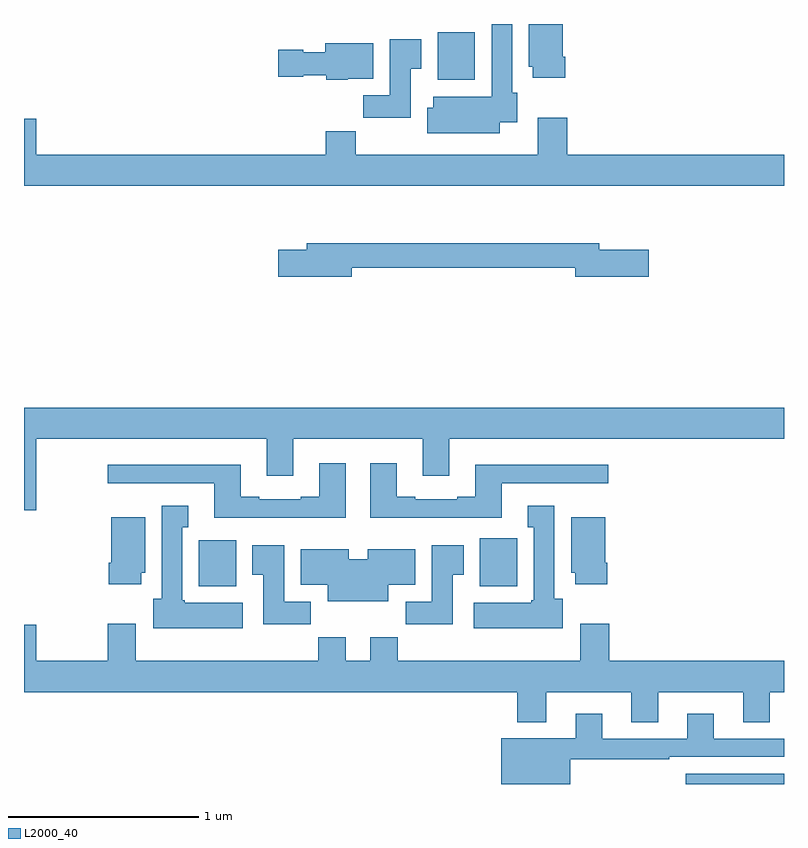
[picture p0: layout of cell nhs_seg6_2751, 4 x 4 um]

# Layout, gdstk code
import gdstk
lib = gdstk.Library(unit=1e-6, precision=1e-09)
def R(c, l, rs):  # rectangles x0, y0, x1, y1
    for r in rs: c.add(gdstk.rectangle(r[:2], r[2:], *l))
def P(c, l, *ps):  # polygons
    for p in ps: c.add(gdstk.Polygon(p, *l))
L2000_40 = (2000, 40)

nhs_seg6_2751 = lib.new_cell('nhs_seg6_2751')
R(nhs_seg6_2751, L2000_40, [(276.483,965.5,277,965.554), (273.92,966.542,274.117,966.784), (275.399,966.542,275.595,966.793), (275.177,969.206,275.373,969.457)])
P(nhs_seg6_2751, L2000_40, [(275.849,969.328),(275.836,969.328),(275.836,969.5),(275.657,969.5),(275.657,969.276),(275.678,969.276),(275.678,969.216),(275.849,969.216)],
  [(275.503,968.984),(275.596,968.984),(275.596,969.138),(275.569,969.138),(275.569,969.5),(275.462,969.5),(275.462,969.118),(275.153,969.118),(275.153,969.059),(275.123,969.059),(275.123,968.924),(275.503,968.924)],
  [(275.035,969.265),(275.092,969.265),(275.092,969.421),(274.925,969.421),(274.925,969.124),(274.786,969.124),(274.786,969.006),(275.035,969.006)],
  [(274.704,969.212),(274.837,969.212),(274.837,969.4),(274.586,969.4),(274.586,969.352),(274.47,969.352),(274.47,969.365),(274.338,969.365),(274.338,969.223),(274.47,969.223),(274.47,969.23),(274.59,969.23),(274.59,969.206),(274.704,969.206)],
  [(277,968.812),(275.858,968.812),(275.858,969.007),(275.705,969.007),(275.705,968.812),(274.745,968.812),(274.745,968.936),(274.589,968.936),(274.589,968.812),(273.064,968.812),(273.064,969.001),(273,969.001),(273,968.648),(277,968.648)],
  [(274.726,968.218),(275.9,968.218),(275.9,968.171),(276.289,968.171),(276.289,968.313),(276.028,968.313),(276.028,968.347),(274.487,968.347),(274.487,968.313),(274.338,968.313),(274.338,968.171),(274.726,968.171)],
  [(273.064,967.316),(274.277,967.316),(274.277,967.122),(274.417,967.122),(274.417,967.316),(275.099,967.316),(275.099,967.122),(275.239,967.122),(275.239,967.316),(277,967.316),(277,967.48),(273,967.48),(273,966.942),(273.064,966.942)],
  [(275.515,967.083),(276.076,967.083),(276.076,967.18),(275.375,967.18),(275.375,967.012),(275.279,967.012),(275.279,966.999),(275.059,966.999),(275.059,967.012),(274.963,967.012),(274.963,967.189),(274.823,967.189),(274.823,966.902),(275.515,966.902)],
  [(274.693,967.189),(274.553,967.189),(274.553,967.012),(274.457,967.012),(274.457,966.999),(274.237,966.999),(274.237,967.012),(274.141,967.012),(274.141,967.18),(273.441,967.18),(273.441,967.083),(274.001,967.083),(274.001,966.902),(274.693,966.902)],
  [(275.836,966.474),(275.791,966.474),(275.791,966.964),(275.651,966.964),(275.651,966.851),(275.684,966.851),(275.684,966.468),(275.671,966.468),(275.671,966.454),(275.367,966.454),(275.367,966.32),(275.836,966.32)],
  [(274.15,966.454),(273.846,966.454),(273.846,966.468),(273.832,966.468),(273.832,966.851),(273.865,966.851),(273.865,966.964),(273.725,966.964),(273.725,966.474),(273.68,966.474),(273.68,966.32),(274.15,966.32)],
  [(276.071,966.664),(276.058,966.664),(276.058,966.904),(275.879,966.904),(275.879,966.612),(275.9,966.612),(275.9,966.552),(276.071,966.552)],
  [(273.616,966.612),(273.637,966.612),(273.637,966.904),(273.458,966.904),(273.458,966.664),(273.446,966.664),(273.446,966.552),(273.616,966.552)],
  [(275.257,966.601),(275.314,966.601),(275.314,966.757),(275.147,966.757),(275.147,966.46),(275.008,966.46),(275.008,966.342),(275.257,966.342)],
  [(274.508,966.46),(274.369,966.46),(274.369,966.757),(274.202,966.757),(274.202,966.601),(274.259,966.601),(274.259,966.342),(274.508,966.342)],
  [(274.918,966.548),(275.059,966.548),(275.059,966.736),(274.808,966.736),(274.808,966.682),(274.708,966.682),(274.708,966.736),(274.457,966.736),(274.457,966.548),(274.598,966.548),(274.598,966.461),(274.918,966.461)],
  [(276.337,965.984),(276.785,965.984),(276.785,965.824),(276.925,965.824),(276.925,965.984),(277,965.984),(277,966.148),(276.08,966.148),(276.08,966.343),(275.927,966.343),(275.927,966.148),(274.967,966.148),(274.967,966.272),(274.823,966.272),(274.823,966.148),(274.693,966.148),(274.693,966.272),(274.549,966.272),(274.549,966.148),(273.589,966.148),(273.589,966.343),(273.442,966.343),(273.442,966.148),(273.064,966.148),(273.064,966.337),(273,966.337),(273,965.984),(275.597,965.984),(275.597,965.825),(275.749,965.825),(275.749,965.984),(276.197,965.984),(276.197,965.824),(276.337,965.824)],
  [(275.875,965.631),(276.395,965.631),(276.395,965.643),(277,965.643),(277,965.739),(276.631,965.739),(276.631,965.869),(276.491,965.869),(276.491,965.739),(276.043,965.739),(276.043,965.869),(275.903,965.869),(275.903,965.74),(275.513,965.74),(275.513,965.5),(275.875,965.5)])

lib.write_gds('nhs_seg6_2751.gds')
